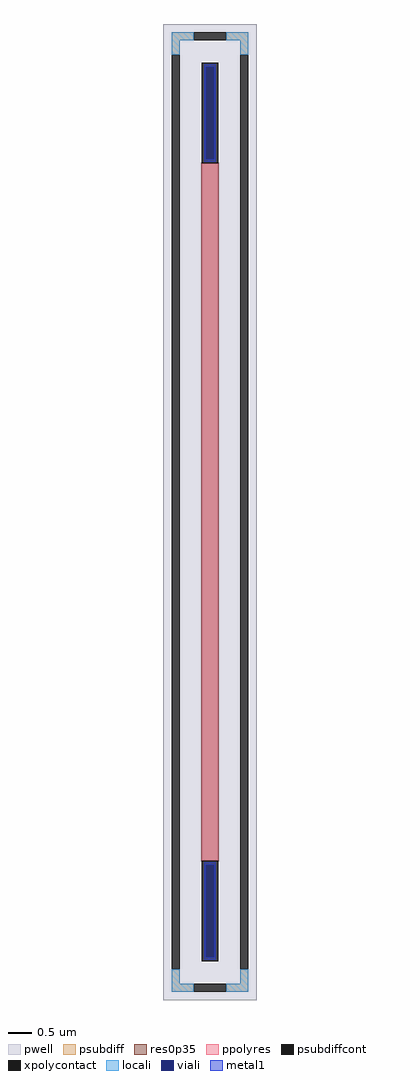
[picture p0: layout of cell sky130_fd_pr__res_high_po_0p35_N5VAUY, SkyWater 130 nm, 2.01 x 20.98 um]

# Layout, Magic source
magic
tech sky130A
magscale 1 2
<< pwell >>
rect -201 -2098 201 2098
<< psubdiff >>
rect -165 2028 -69 2062
rect 69 2028 165 2062
rect -165 1966 -131 2028
rect 131 1966 165 2028
rect -165 -2028 -131 -1966
rect 131 -2028 165 -1966
rect -165 -2062 -69 -2028
rect 69 -2062 165 -2028
<< psubdiffcont >>
rect -69 2028 69 2062
rect -165 -1966 -131 1966
rect 131 -1966 165 1966
rect -69 -2062 69 -2028
<< xpolycontact >>
rect -35 1500 35 1932
rect -35 -1932 35 -1500
<< ppolyres >>
rect -35 -1500 35 1500
<< locali >>
rect -165 2028 -69 2062
rect 69 2028 165 2062
rect -165 1966 -131 2028
rect 131 1966 165 2028
rect -165 -2028 -131 -1966
rect 131 -2028 165 -1966
rect -165 -2062 -69 -2028
rect 69 -2062 165 -2028
<< viali >>
rect -19 1517 19 1914
rect -19 -1914 19 -1517
<< metal1 >>
rect -25 1914 25 1926
rect -25 1517 -19 1914
rect 19 1517 25 1914
rect -25 1505 25 1517
rect -25 -1517 25 -1505
rect -25 -1914 -19 -1517
rect 19 -1914 25 -1517
rect -25 -1926 25 -1914
<< res0p35 >>
rect -37 -1502 37 1502
<< properties >>
string FIXED_BBOX -148 -2045 148 2045
string gencell sky130_fd_pr__res_high_po_0p35
string library sky130
string parameters w 0.350 l 15.0 m 1 nx 1 wmin 0.350 lmin 0.50 rho 319.8 val 14.818k dummy 0 dw 0.0 term 194.82 sterm 0.0 caplen 0 guard 1 glc 1 grc 1 gtc 1 gbc 1 compatible {sky130_fd_pr__res_high_po_0p35  sky130_fd_pr__res_high_po_0p69 sky130_fd_pr__res_high_po_1p41  sky130_fd_pr__res_high_po_2p85 sky130_fd_pr__res_high_po_5p73} snake 0 full_metal 1 wmax 0.350 vias 1 n_guard 0 hv_guard 0 viagb 0 viagt 0 viagl 0 viagr 0
<< end >>
